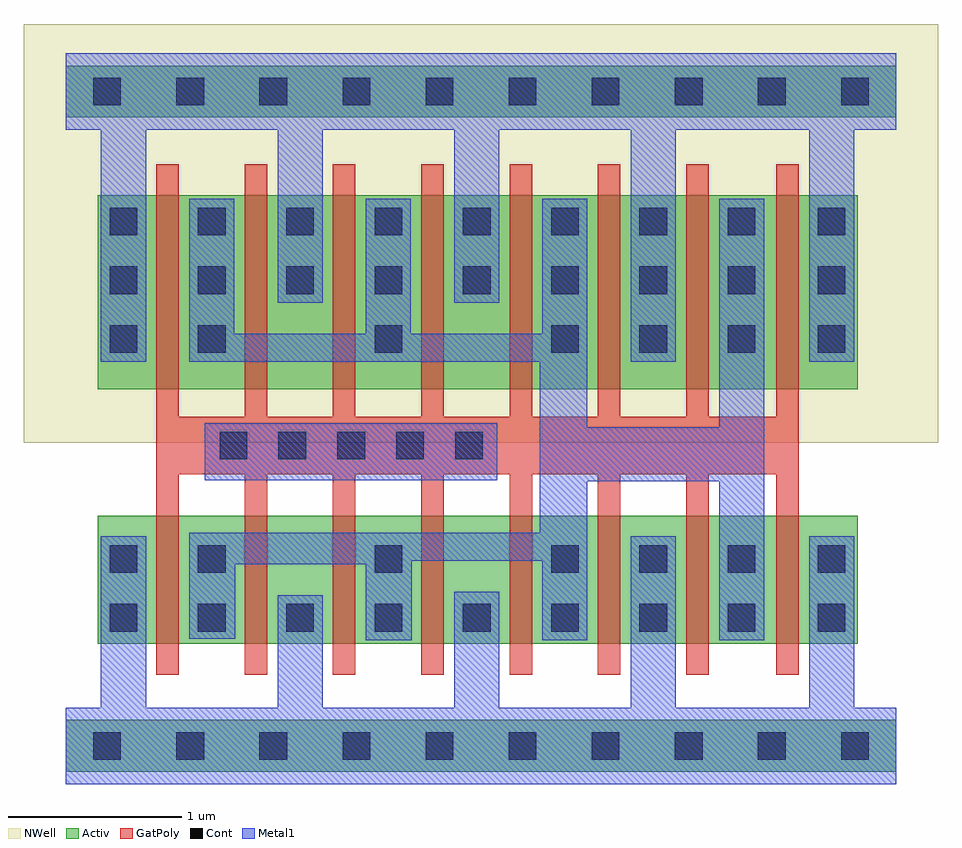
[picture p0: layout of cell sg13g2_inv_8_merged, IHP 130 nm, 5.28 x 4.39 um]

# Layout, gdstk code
import gdstk
lib = gdstk.Library(unit=1e-6, precision=1e-09)
def R(c, l, rs):  # rectangles x0, y0, x1, y1
    for r in rs: c.add(gdstk.rectangle(r[:2], r[2:], *l))
def A(c, l, x, y, w, h, nx, ny, dx, dy):  # array of equal rectangles
    R(c, l, [(x+i*dx, y+j*dy, x+i*dx+w, y+j*dy+h) for i in range(nx) for j in range(ny)])
def P(c, l, *ps):  # polygons
    for p in ps: c.add(gdstk.Polygon(p, *l))
Activ = (1, 0)
GatPoly = (5, 0)
Cont = (6, 0)
Metal1 = (8, 0)
NWell = (31, 0)

sg13g2_inv_8_merged = lib.new_cell('sg13g2_inv_8_merged')
R(sg13g2_inv_8_merged, Activ, [(0,-0.15,4.8,0.15), (0.185,0.59,4.575,1.33), (0.185,2.06,4.575,3.18), (0,3.63,4.8,3.93)])
P(sg13g2_inv_8_merged, GatPoly, [(0.525,0.41),(0.525,3.36),(0.655,3.36),(0.655,1.9),(1.035,1.9),(1.035,3.36),(1.165,3.36),(1.165,1.9),(1.545,1.9),(1.545,3.36),(1.675,3.36),(1.675,1.9),(2.055,1.9),(2.055,3.36),(2.185,3.36),(2.185,1.9),(2.565,1.9),(2.565,3.36),(2.695,3.36),(2.695,1.9),(3.075,1.9),(3.075,3.36),(3.205,3.36),(3.205,1.9),(3.585,1.9),(3.585,3.36),(3.715,3.36),(3.715,1.9),(4.105,1.9),(4.105,3.36),(4.235,3.36),(4.235,0.41),(4.105,0.41),(4.105,1.57),(3.715,1.57),(3.715,0.41),(3.585,0.41),(3.585,1.57),(3.205,1.57),(3.205,0.41),(3.075,0.41),(3.075,1.57),(2.695,1.57),(2.695,0.41),(2.565,0.41),(2.565,1.57),(2.185,1.57),(2.185,0.41),(2.055,0.41),(2.055,1.57),(1.675,1.57),(1.675,0.41),(1.545,0.41),(1.545,1.57),(1.165,1.57),(1.165,0.41),(1.035,0.41),(1.035,1.57),(0.655,1.57),(0.655,0.41)])
A(sg13g2_inv_8_merged, Cont, 0.16, -0.08, 0.16, 0.16, 10, 2, 0.48, 3.78)
A(sg13g2_inv_8_merged, Cont, 0.255, 0.66, 0.16, 0.16, 8, 2, 0.51, 1.95)
A(sg13g2_inv_8_merged, Cont, 0.765, 1, 0.16, 0.16, 3, 2, 1.02, 1.27)
A(sg13g2_inv_8_merged, Cont, 0.89, 1.655, 0.16, 0.16, 5, 1, 0.34, 0)
A(sg13g2_inv_8_merged, Cont, 4.345, 2.27, 0.16, 0.16, 1, 3, 0, 0.34)
A(sg13g2_inv_8_merged, Cont, 0.255, 2.95, 0.16, 0.16, 8, 1, 0.51, 0)
R(sg13g2_inv_8_merged, Cont, [(4.345,0.66,4.505,0.82), (0.255,1,0.415,1.16), (3.315,1,3.475,1.16), (3.825,1,3.985,1.16), (4.345,1,4.505,1.16), (0.255,2.27,0.415,2.43), (3.315,2.27,3.475,2.43), (3.825,2.27,3.985,2.43)])
R(sg13g2_inv_8_merged, Metal1, [(0.805,1.535,2.495,1.865)])
P(sg13g2_inv_8_merged, Metal1, [(0,-0.22),(0,0.22),(0.205,0.22),(0.205,1.21),(0.465,1.21),(0.465,0.22),(1.225,0.22),(1.225,0.87),(1.485,0.87),(1.485,0.22),(2.245,0.22),(2.245,0.89),(2.505,0.89),(2.505,0.22),(3.265,0.22),(3.265,1.21),(3.525,1.21),(3.525,0.22),(4.295,0.22),(4.295,1.21),(4.555,1.21),(4.555,0.22),(4.8,0.22),(4.8,-0.22)],
  [(1.735,0.61),(1.735,1.05),(0.98,1.05),(0.98,0.62),(0.715,0.62),(0.715,1.23),(2.74,1.23),(2.74,2.22),(0.715,2.22),(0.715,3.16),(0.975,3.16),(0.975,2.38),(1.735,2.38),(1.735,3.16),(1.995,3.16),(1.995,2.38),(2.755,2.38),(2.755,3.16),(3.015,3.16),(3.015,1.84),(3.775,1.84),(3.775,3.16),(4.035,3.16),(4.035,0.61),(3.775,0.61),(3.775,1.53),(3.015,1.53),(3.015,0.61),(2.755,0.61),(2.755,1.07),(2,1.07),(2,0.61)],
  [(0.205,2.22),(0.205,3.56),(0,3.56),(0,4),(4.8,4),(4.8,3.56),(4.555,3.56),(4.555,2.22),(4.295,2.22),(4.295,3.56),(3.525,3.56),(3.525,2.22),(3.265,2.22),(3.265,3.56),(2.505,3.56),(2.505,2.56),(2.245,2.56),(2.245,3.56),(1.485,3.56),(1.485,2.56),(1.225,2.56),(1.225,3.56),(0.465,3.56),(0.465,2.22)])
R(sg13g2_inv_8_merged, NWell, [(-0.24,1.75,5.04,4.17)])

lib.write_gds('sg13g2_inv_8_merged.gds')
